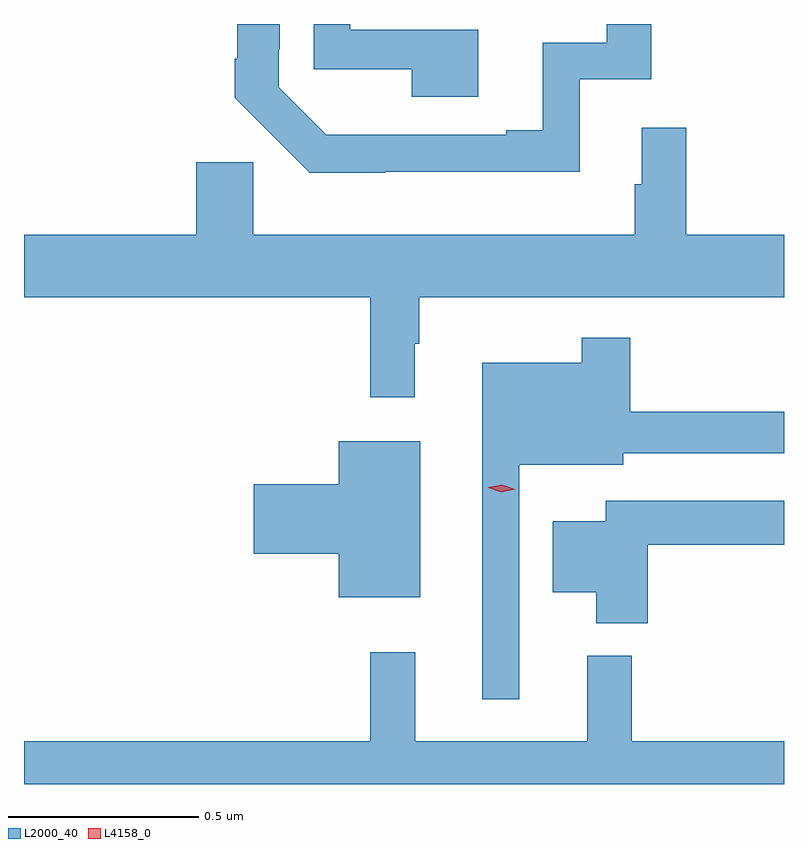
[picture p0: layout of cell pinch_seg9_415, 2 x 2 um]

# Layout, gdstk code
import gdstk
lib = gdstk.Library(unit=1e-6, precision=1e-09)
def P(c, l, *ps):  # polygons
    for p in ps: c.add(gdstk.Polygon(p, *l))
L2000_40 = (2000, 40)
L4158_0 = (4158, 0)

pinch_seg9_415 = lib.new_cell('pinch_seg9_415')
P(pinch_seg9_415, L2000_40, [(346.654,1239.748),(346.317,1239.748),(346.317,1239.763),(346.221,1239.763),(346.221,1239.644),(346.478,1239.644),(346.478,1239.572),(346.654,1239.572)],
  [(346.409,1239.374),(346.921,1239.374),(346.921,1239.618),(347.108,1239.618),(347.108,1239.763),(346.992,1239.763),(346.992,1239.714),(346.823,1239.714),(346.823,1239.484),(346.727,1239.484),(346.727,1239.471),(346.357,1239.471),(346.357,1239.472),(346.254,1239.472),(346.128,1239.597),(346.128,1239.697),(346.131,1239.697),(346.131,1239.763),(346.019,1239.763),(346.019,1239.671),(346.013,1239.671),(346.013,1239.569),(346.21,1239.372),(346.409,1239.372)],
  [(346.486,1238.921),(346.498,1238.921),(346.498,1239.044),(347.458,1239.044),(347.458,1239.208),(347.201,1239.208),(347.201,1239.49),(347.084,1239.49),(347.084,1239.341),(347.065,1239.341),(347.065,1239.208),(346.061,1239.208),(346.061,1239.399),(345.911,1239.399),(345.911,1239.208),(345.458,1239.208),(345.458,1239.044),(346.369,1239.044),(346.369,1238.781),(346.486,1238.781)],
  [(346.761,1238.603),(347.035,1238.603),(347.035,1238.634),(347.458,1238.634),(347.458,1238.743),(347.054,1238.743),(347.054,1238.938),(346.926,1238.938),(346.926,1238.872),(346.664,1238.872),(346.664,1237.986),(346.761,1237.986)],
  [(346.501,1238.665),(346.286,1238.665),(346.286,1238.552),(346.062,1238.552),(346.062,1238.369),(346.286,1238.369),(346.286,1238.255),(346.501,1238.255)],
  [(347.099,1238.392),(347.458,1238.392),(347.458,1238.508),(346.989,1238.508),(346.989,1238.455),(346.85,1238.455),(346.85,1238.267),(346.964,1238.267),(346.964,1238.186),(347.099,1238.186)],
  [(347.458,1237.876),(347.057,1237.876),(347.057,1238.101),(346.94,1238.101),(346.94,1237.876),(346.487,1237.876),(346.487,1238.11),(346.369,1238.11),(346.369,1237.876),(345.458,1237.876),(345.458,1237.763),(347.458,1237.763)])
P(pinch_seg9_415, L4158_0, [(346.714,1238.531),(346.68,1238.543),(346.68,1238.544),(346.68,1238.544),(346.716,1238.551),(346.751,1238.539),(346.751,1238.539),(346.751,1238.539)])

lib.write_gds('pinch_seg9_415.gds')
